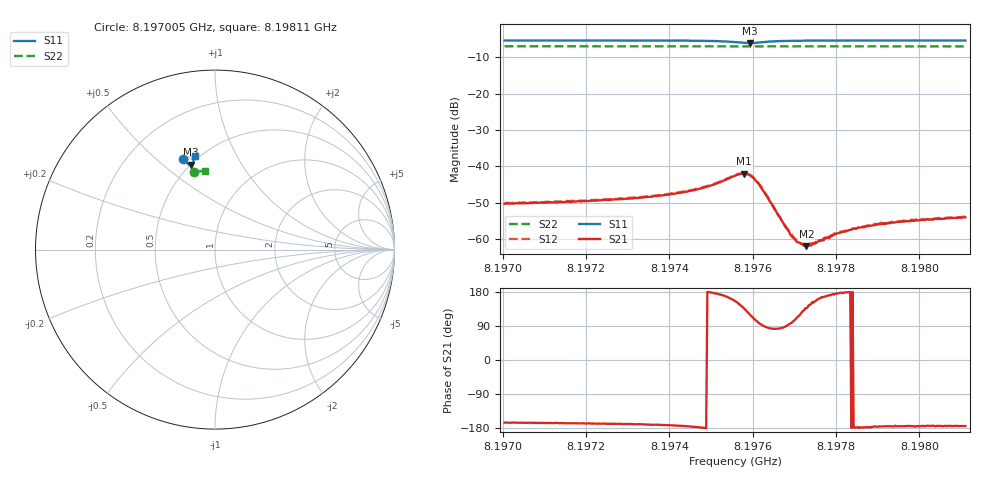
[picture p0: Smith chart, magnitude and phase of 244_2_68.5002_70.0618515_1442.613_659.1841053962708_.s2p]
#  HZ  S  RI  R  50.00
! Rohde & Schwarz Vector Network Analyzer
! Rohde-Schwarz,ZNB20-2Port,1311601062101988,3.16
! Created: UTC 3/20/2024, 5:14:41 PM
! freq[Hz]  re:S11  im:S11  re:S21  im:S21  re:S12  im:S12  re:S22  im:S22
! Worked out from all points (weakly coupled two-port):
!   401 points, 8.197005 GHz to 8.19811 GHz, reference 50 ohm
!   highest |S21| = -41.96 dB at 8.19758 GHz (marker M1); lowest = -61.9 dB at 8.197729 GHz (marker M2)
!   lowest |S11| = -6.2 dB at 8.197593 GHz (marker M3), VSWR 2.94, Z = 25.1 + j31.3 ohm
!   |S11| at or under -10 dB: nowhere
!   |S22| runs from -7.1 to -7.0 dB; largest |S21 - S12| = 0.00037
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8.1970048e9  -0.1808 0.5043  -0.00297 -0.000783  -0.00309 -0.000695  -0.118 0.4304
8.19719e9  -0.1668 0.5087  -0.00324 -0.000726  -0.00334 -0.000607  -0.1078 0.4328
8.1973751e9  -0.1503 0.5123  -0.00391 -0.000623  -0.00399 -0.00047  -0.0976 0.4348
8.1974746e9  -0.1371 0.5121  -0.00495 -0.000202  -0.00507 -2.25e-05  -0.0917 0.4356
8.1975161e9  -0.1284 0.5086  -0.00588 0.000575  -0.00597 0.000831  -0.0893 0.4361
8.1975575e9  -0.1195 0.4944  -0.00681 0.00306  -0.00683 0.00341  -0.0869 0.4359
8.1975796e9  -0.1243 0.4791  -0.0057 0.00558  -0.00559 0.0059  -0.0859 0.4357
8.1975935e9  -0.135 0.473  -0.00373 0.00654  -0.00359 0.00682  -0.0855 0.4357
8.1976073e9  -0.1473 0.4748  -0.00163 0.00621  -0.0014 0.00644  -0.085 0.436
8.1976211e9  -0.1549 0.482  -0.000259 0.00503  -5.82e-05 0.00516  -0.0844 0.4363
8.1976736e9  -0.1544 0.5038  0.00012 0.00165  0.000197 0.00166  -0.0817 0.4373
8.1976957e9  -0.151 0.5077  -0.0002 0.00105  -0.000157 0.00111  -0.0803 0.4376
8.1977068e9  -0.1495 0.5093  -0.00035 0.000842  -0.000324 0.000884  -0.0796 0.4378
8.1977151e9  -0.1484 0.5104  -0.000469 0.000749  -0.000439 0.000743  -0.0793 0.4378
8.1977289e9  -0.1465 0.5117  -0.000584 0.000553  -0.0006 0.000597  -0.0784 0.438
8.1977427e9  -0.1447 0.5126  -0.00076 0.00039  -0.00075 0.00046  -0.0775 0.4381
8.1977952e9  -0.1388 0.5156  -0.00114 0.000146  -0.00119 0.000154  -0.0745 0.4387
8.1978173e9  -0.1366 0.5165  -0.00126 7.29e-05  -0.00129 9.84e-05  -0.0733 0.4388
8.1978588e9  -0.1326 0.5178  -0.00145 -3.03e-05  -0.00147 2.04e-05  -0.071 0.4391
8.1979279e9  -0.1266 0.5196  -0.00167 -0.000142  -0.0017 -6.72e-05  -0.0669 0.4395
8.1980025e9  -0.1205 0.5213  -0.00182 -0.00017  -0.00187 -9.39e-05  -0.063 0.4401
8.1981103e9  -0.1121 0.5231  -0.00199 -0.000193  -0.00201 -0.000103  -0.0567 0.4406
